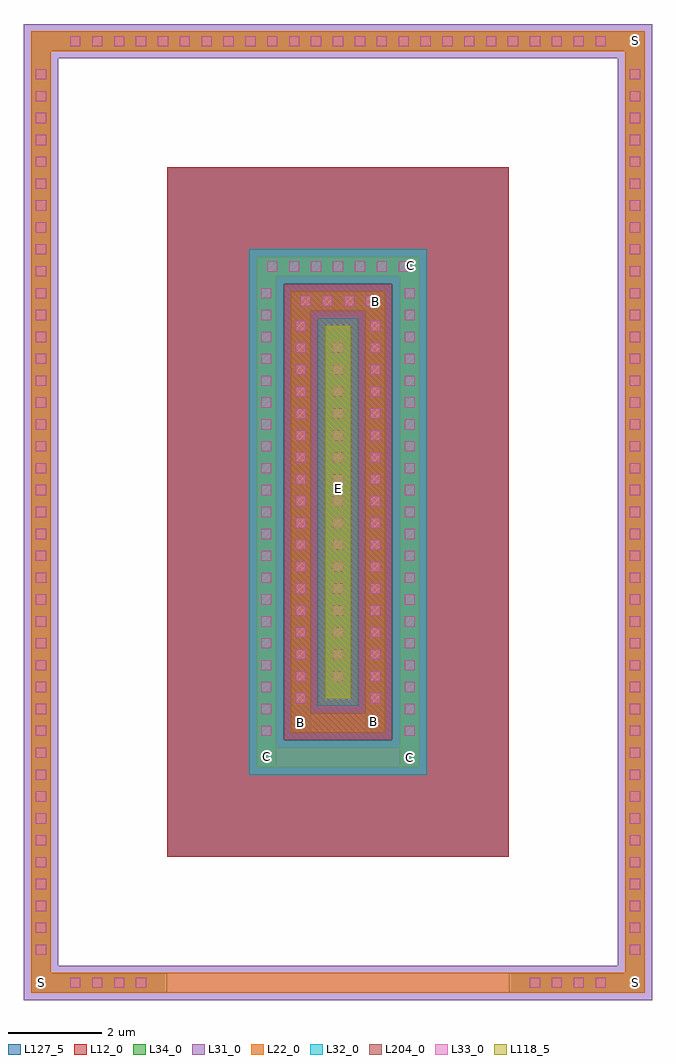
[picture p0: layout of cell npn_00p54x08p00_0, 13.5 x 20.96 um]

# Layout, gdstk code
import gdstk
lib = gdstk.Library(unit=1e-6, precision=1e-09)
def R(c, l, rs):  # rectangles x0, y0, x1, y1
    for r in rs: c.add(gdstk.rectangle(r[:2], r[2:], *l))
def A(c, l, x, y, w, h, nx, ny, dx, dy):  # array of equal rectangles
    R(c, l, [(x+i*dx, y+j*dy, x+i*dx+w, y+j*dy+h) for i in range(nx) for j in range(ny)])
def P(c, l, *ps):  # polygons
    for p in ps: c.add(gdstk.Polygon(p, *l))
L12_0 = (12, 0)
L22_0 = (22, 0)
L31_0 = (31, 0)
L32_0 = (32, 0)
L33_0 = (33, 0)
L34_0 = (34, 0)
L118_5 = (118, 5)
L127_5 = (127, 5)
L204_0 = (204, 0)

npn_00p54x08p00_0 = lib.new_cell('npn_00p54x08p00_0')
R(npn_00p54x08p00_0, L12_0, [(-3.4,-3.4,3.94,11.4)])
R(npn_00p54x08p00_0, L22_0, [(0,0,0.54,8)])
P(npn_00p54x08p00_0, L22_0, [(-0.74,-0.74),(-0.74,8.74),(0.86,8.74),(0.86,8.32),(-0.32,8.32),(-0.32,-0.32),(0.86,-0.32),(0.86,8.74),(1.28,8.74),(1.28,-0.74)],
  [(-6.32,-6.32),(-6.32,14.32),(6.44,14.32),(6.44,13.9),(-5.9,13.9),(-5.9,-5.9),(6.44,-5.9),(6.44,14.32),(6.86,14.32),(6.86,-6.32)],
  [(-1.48,-1.48),(-1.48,9.48),(1.6,9.48),(1.6,9.06),(-1.06,9.06),(-1.06,-1.06),(1.6,-1.06),(1.6,9.48),(2.02,9.48),(2.02,-1.48)])
P(npn_00p54x08p00_0, L31_0, [(-0.9,-0.9),(-0.9,8.9),(0.7,8.9),(0.7,8.16),(-0.16,8.16),(-0.16,-0.16),(0.7,-0.16),(0.7,8.9),(1.44,8.9),(1.44,-0.9)],
  [(-6.48,-6.48),(-6.48,14.48),(6.28,14.48),(6.28,13.74),(-5.74,13.74),(-5.74,-5.74),(6.28,-5.74),(6.28,14.48),(7.02,14.48),(7.02,-6.48)])
R(npn_00p54x08p00_0, L32_0, [(-0.16,-0.16,0.7,8.16)])
P(npn_00p54x08p00_0, L32_0, [(-1.64,-1.64),(-1.64,9.64),(1.44,9.64),(1.44,8.9),(-0.9,8.9),(-0.9,-0.9),(1.44,-0.9),(1.44,9.64),(2.18,9.64),(2.18,-1.64)])
A(npn_00p54x08p00_0, L33_0, -5.48, -6.22, 0.22, 0.22, 4, 1, 0.47, 0)
A(npn_00p54x08p00_0, L33_0, 4.39, -6.22, 0.22, 0.22, 4, 1, 0.47, 0)
A(npn_00p54x08p00_0, L33_0, -6.22, -5.51, 0.22, 0.22, 1, 41, 0, 0.47)
A(npn_00p54x08p00_0, L33_0, 6.54, -5.51, 0.22, 0.22, 1, 41, 0, 0.47)
A(npn_00p54x08p00_0, L33_0, -1.38, -0.81, 0.22, 0.22, 1, 21, 0, 0.47)
A(npn_00p54x08p00_0, L33_0, 1.7, -0.81, 0.22, 0.22, 1, 21, 0, 0.47)
A(npn_00p54x08p00_0, L33_0, -0.64, 0.365, 0.22, 0.22, 3, 16, 0.8, 0.47)
A(npn_00p54x08p00_0, L33_0, -0.54, 8.42, 0.22, 0.22, 4, 1, 0.47, 0)
A(npn_00p54x08p00_0, L33_0, -1.25, 9.16, 0.22, 0.22, 7, 1, 0.47, 0)
A(npn_00p54x08p00_0, L33_0, -5.48, 14, 0.22, 0.22, 25, 1, 0.47, 0)
R(npn_00p54x08p00_0, L33_0, [(-0.64,-0.105,-0.42,0.115), (0.96,-0.105,1.18,0.115), (-0.64,7.885,-0.42,8.105), (0.96,7.885,1.18,8.105)])
R(npn_00p54x08p00_0, L34_0, [(-6.32,-6.32,-3.4,-5.9), (-6.32,-6.32,-5.9,14.32), (3.94,-6.32,6.86,-5.9), (6.44,-6.32,6.86,14.32), (-1.48,-1.48,-1.06,9.48), (-1.48,-1.48,-1.06,9.06), (1.6,-1.48,2.02,9.48), (1.6,-1.48,2.02,9.06), (-0.74,-0.74,-0.32,8.74), (-0.74,-0.74,-0.32,8.32), (0.86,-0.74,1.28,8.74), (0.86,-0.74,1.28,8.32), (0,0,0.54,8), (0,0,0.54,8), (-0.74,8.32,1.28,8.74), (-0.74,8.32,1.28,8.74), (-1.48,9.06,2.02,9.48), (-1.48,9.06,2.02,9.48), (-6.32,13.9,6.86,14.32)])
P(npn_00p54x08p00_0, L34_0, [(3.94,-6.32),(3.94,-5.9),(6.44,-5.9),(6.44,14.32),(6.86,14.32),(6.86,-6.32)],
  [(-6.32,-6.32),(-6.32,14.32),(6.44,14.32),(6.44,13.9),(-5.9,13.9),(-5.9,-5.9),(-3.4,-5.9),(-3.4,-6.32)])
R(npn_00p54x08p00_0, L118_5, [(0,0,0.54,8)])
R(npn_00p54x08p00_0, L127_5, [(-3.4,-3.4,3.94,11.4)])
R(npn_00p54x08p00_0, L204_0, [(-0.9,-0.9,1.44,8.9)])
npn_00p54x08p00_0.add(gdstk.Label('E', (0.27,4.5), layer=34, texttype=0))
npn_00p54x08p00_0.add(gdstk.Label('B', (-0.54,-0.53), layer=34, texttype=0))
npn_00p54x08p00_0.add(gdstk.Label('B', (1.04,-0.5), layer=34, texttype=0))
npn_00p54x08p00_0.add(gdstk.Label('B', (1.065,8.515), layer=34, texttype=0))
npn_00p54x08p00_0.add(gdstk.Label('C', (1.81,-1.275), layer=34, texttype=0))
npn_00p54x08p00_0.add(gdstk.Label('C', (1.825,9.285), layer=34, texttype=0))
npn_00p54x08p00_0.add(gdstk.Label('C', (-1.26,-1.255), layer=34, texttype=0))
npn_00p54x08p00_0.add(gdstk.Label('S', (6.66,-6.095), layer=34, texttype=0))
npn_00p54x08p00_0.add(gdstk.Label('S', (6.66,-6.095), layer=34, texttype=0))
npn_00p54x08p00_0.add(gdstk.Label('S', (6.665,14.12), layer=34, texttype=0))
npn_00p54x08p00_0.add(gdstk.Label('S', (-6.1,-6.11), layer=34, texttype=0))
npn_00p54x08p00_0.add(gdstk.Label('S', (-6.1,-6.11), layer=34, texttype=0))

lib.write_gds('npn_00p54x08p00_0.gds')
